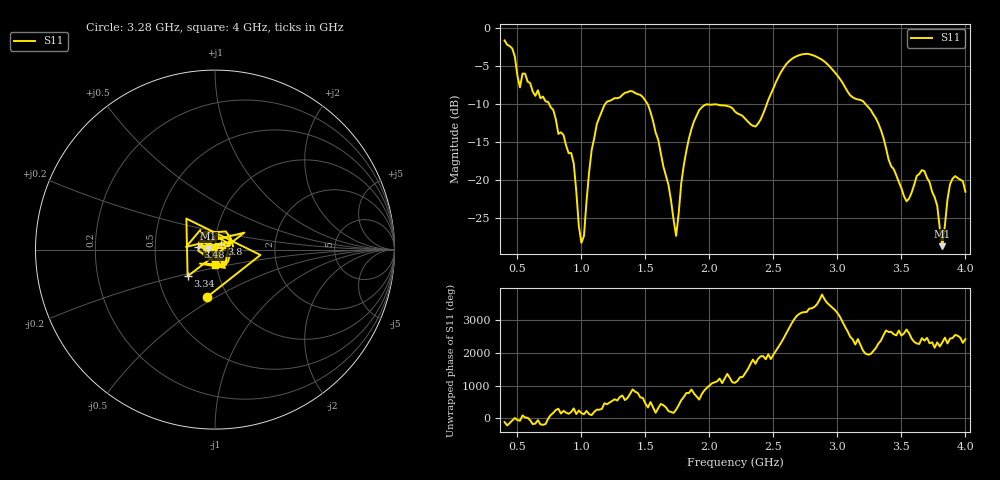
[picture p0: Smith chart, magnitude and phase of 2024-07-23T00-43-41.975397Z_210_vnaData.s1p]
!Created with skrf (http://scikit-rf.org).
# Hz S RI R 50.0
!freq ReS11 ImS11
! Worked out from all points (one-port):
!   181 points, 400 MHz to 4 GHz, reference 50 ohm
!   lowest |S11| = -28.7 dB at 3.82 GHz (marker M1), VSWR 1.08, Z = 46.5 + j0.412 ohm
!   |S11| at or under -10 dB: 747.1 MHz to 1.187 GHz (439.7 MHz wide, 45.5 % of centre); 1.516 GHz to 2.449 GHz (933.3 MHz wide, 47.1 % of centre); 3.218 GHz to end of sweep
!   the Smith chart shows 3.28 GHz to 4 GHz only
!   S11 on the Smith chart (normalised r, x): 3.28 GHz: 0.80, -0.46; 3.34 GHz: 0.71, -0.22; 3.48 GHz: 0.82, +0.02; 3.8 GHz: 1.07, +0.07; 4 GHz: 0.98, -0.17
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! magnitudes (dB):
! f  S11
! 400 MHz  -1.7
! 460 MHz  -2.8
! 520 MHz  -7.8
! 560 MHz  -6.1
! 860 MHz  -14.1
! 940 MHz  -17.8
! 1 GHz  -28.2
! 1.12 GHz  -12.7
! 1.3 GHz  -9.2
! 1.52 GHz  -10.1
! 1.74 GHz  -27.3
! 1.76 GHz  -24.4
! 1.82 GHz  -16.2
! 1.92 GHz  -10.8
! 2.2 GHz  -11.0
! 2.36 GHz  -13.0
! 2.66 GHz  -3.9
! 2.88 GHz  -4.2
! 3.1 GHz  -8.9
! 3.28 GHz  -11.4
! 3.34 GHz  -13.4
! 3.48 GHz  -20.2
! 3.56 GHz  -22.4
! 3.68 GHz  -18.8
! 3.8 GHz  -26.3
! 3.82 GHz  -28.7
! 3.88 GHz  -20.5
! 4 GHz  -21.5
